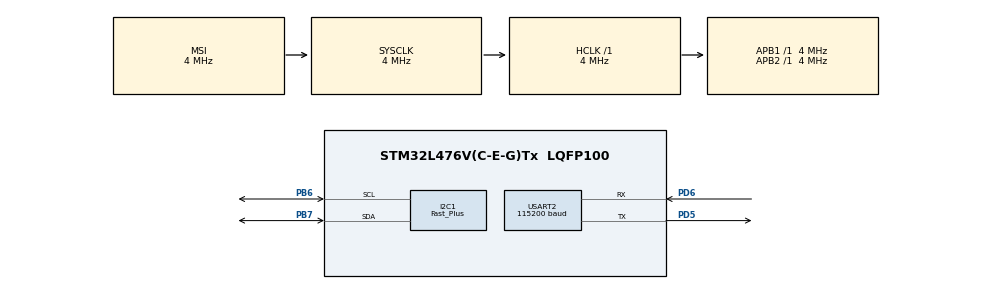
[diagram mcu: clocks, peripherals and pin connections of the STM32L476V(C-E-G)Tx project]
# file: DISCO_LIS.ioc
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I2C1.I2C_Speed_Mode=I2C_Fast_Plus
I2C1.Timing=0x00000000
Mcu.Family=STM32L4
Mcu.Name=STM32L476V(C-E-G)Tx
Mcu.Package=LQFP100
NVIC.PriorityGroup=NVIC_PRIORITYGROUP_4
PB6.Mode=I2C
PB6.Signal=I2C1_SCL
PB7.Mode=I2C
PB7.Signal=I2C1_SDA
PD5.Mode=Asynchronous
PD5.Signal=USART2_TX
PD6.Mode=Asynchronous
PD6.Signal=USART2_RX
ProjectManager.HeapSize=0x200
ProjectManager.StackSize=0x400
ProjectManager.TargetToolchain=STM32CubeIDE
RCC.ADCFreq_Value=16000000
RCC.AHBFreq_Value=4000000
RCC.APB1Freq_Value=4000000
RCC.APB1TimFreq_Value=4000000
RCC.APB2Freq_Value=4000000
RCC.APB2TimFreq_Value=4000000
RCC.CortexFreq_Value=4000000
RCC.HCLKFreq_Value=4000000
RCC.HSE_VALUE=8000000
RCC.HSI_VALUE=16000000
RCC.LSE_VALUE=32768
RCC.MSI_VALUE=4000000
RCC.PREFETCH_ENABLE=1
RCC.SYSCLKFreq_VALUE=4000000
RCC.USBFreq_Value=16000000
RCC.VCOOutputFreq_Value=32000000
TIM16.Prescaler=4000-1
USART2.BaudRate=115200
USART2.VirtualMode-Asynchronous=VM_ASYNC
VP_TIM16_VS_ClockSourceINT.Mode=Enable_Timer
board=STM32L476G-DISCO

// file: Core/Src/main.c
/* USER CODE BEGIN Header */
/**
  ******************************************************************************
  * @file           : main.c
  * @brief          : Main program body
  ******************************************************************************
  * @attention
  *
  * <h2><center>&copy; Copyright (c) 2020 STMicroelectronics.
  * All rights reserved.</center></h2>
  *
  * This software component is licensed by ST under BSD 3-Clause license,
  * the "License"; You may not use this file except in compliance with the
  * License. You may obtain a copy of the License at:
  *                        opensource.org/licenses/BSD-3-Clause
  *
  ******************************************************************************
  */
/* USER CODE END Header */
#include "main.h"

/* USER CODE BEGIN Includes */
#include "lis2dh12_reg.h"
#include <string.h>
#include <stdio.h>
#include <stdlib.h>
/* USER CODE END Includes */

/* USER CODE BEGIN PTD */
#define MAIN_MENU   "press\t 1 to start a measurement\r\n\t 2 to start a measurement but without accelz output\r\n\t 3 to test timer"
#define PROMPT "\r\n> "
/* USER CODE END PTD */

/* USER CODE BEGIN PD */
#define NUCLEO_F411RE
#define SENSOR_BUS hi2c1

/* USER CODE END PD */

/* USER CODE BEGIN PM */
#define    BOOT_TIME            5 //ms
/* USER CODE END PM */

I2C_HandleTypeDef hi2c1;

TIM_HandleTypeDef htim16;

UART_HandleTypeDef huart2;

/* USER CODE BEGIN PV */
static int16_t data_raw_acceleration[3];
static float acceleration_mg[3];
static uint8_t whoamI;
static uint8_t tx_buffer[1000];
static int16_t accel[DATA_POINTS];
/* USER CODE END PV */

void SystemClock_Config(void);
static void MX_GPIO_Init(void);
static void MX_I2C1_Init(void);
static void MX_TIM16_Init(void);
static void MX_USART2_UART_Init(void);
/* USER CODE BEGIN PFP */
int lis2dh12_read_data_polling(void);
static int32_t platform_write(void *handle, uint8_t reg, uint8_t *bufp, uint16_t len);
static int32_t platform_read(void *handle, uint8_t reg, uint8_t *bufp, uint16_t len);
static void tx_com(uint8_t *tx_buffer, uint16_t len);
static void platform_delay(uint32_t ms);
static void platform_init(void);
uint8_t readUserInput(void);
/* USER CODE END PFP */

int main(void)
{
  /* USER CODE BEGIN 1 */

	uint8_t opt = 0;

  /* USER CODE END 1 */

  /* MCU Configuration--------------------------------------------------------*/

  /* Reset of all peripherals, Initializes the Flash interface and the Systick. */
  HAL_Init();

  /* Configure the system clock */
  SystemClock_Config();

  /* Initialize all configured peripherals */
  MX_GPIO_Init();
  MX_I2C1_Init();
  MX_TIM16_Init();
  MX_USART2_UART_Init();
  /* USER CODE BEGIN 2 */
  stmdev_ctx_t dev_ctx;

  dev_ctx.write_reg = platform_write;
  dev_ctx.read_reg = platform_read;
  dev_ctx.handle = &SENSOR_BUS;

  /* Wait boot time and initialize platform specific hardware */
  platform_init();

  /* Wait sensor boot time */
  platform_delay(BOOT_TIME);

  /* Check device ID */
  lis2dh12_device_id_get(&dev_ctx, &whoamI);
  if (whoamI != LIS2DH12_ID){
    while(1) {
      /* manage here device not found */
    }
  }

  /* Enable Block Data Update. */
  lis2dh12_block_data_update_set(&dev_ctx, PROPERTY_ENABLE);

  lis2dh12_data_rate_set(&dev_ctx, LIS2DH12_ODR_200Hz);
  lis2dh12_full_scale_set(&dev_ctx, LIS2DH12_2g);
  lis2dh12_temperature_meas_set(&dev_ctx, LIS2DH12_TEMP_DISABLE);
  lis2dh12_operating_mode_set(&dev_ctx, LIS2DH12_HR_12bit);
  // Start timer
  HAL_TIM_Base_Start(&htim16);
#if defined TESTING
  uart_buf_len = sprintf(uart_buf, "Timer test\n\r");
  HAL_UART_Transmit(&huart2, (uint8_t*)uart_buf, uart_buf_len, HAL_MAX_DELAY);
  HAL_UART_Transmit(&huart2, (uint8_t*)MAIN_MENU, strlen(MAIN_MENU), HAL_MAX_DELAY);
#endif
  /* USER CODE END 2 */

  /* Infinite loop */
  while (1)
  {

    /* USER CODE BEGIN 3 */

	lis2dh12_read_data_polling();
	break;
  }
  /* USER CODE END 3 */
}

void SystemClock_Config(void)
{
  RCC_OscInitTypeDef RCC_OscInitStruct = {0};
  RCC_ClkInitTypeDef RCC_ClkInitStruct = {0};
  RCC_PeriphCLKInitTypeDef PeriphClkInit = {0};

  /** Initializes the RCC Oscillators according to the specified parameters
  * in the RCC_OscInitTypeDef structure.
  */
  RCC_OscInitStruct.OscillatorType = RCC_OSCILLATORTYPE_MSI;
  RCC_OscInitStruct.MSIState = RCC_MSI_ON;
  RCC_OscInitStruct.MSICalibrationValue = 0;
  RCC_OscInitStruct.MSIClockRange = RCC_MSIRANGE_6;
  RCC_OscInitStruct.PLL.PLLState = RCC_PLL_NONE;
  if (HAL_RCC_OscConfig(&RCC_OscInitStruct) != HAL_OK)
  {
    Error_Handler();
  }
  /** Initializes the CPU, AHB and APB buses clocks
  */
  RCC_ClkInitStruct.ClockType = RCC_CLOCKTYPE_HCLK|RCC_CLOCKTYPE_SYSCLK
                              |RCC_CLOCKTYPE_PCLK1|RCC_CLOCKTYPE_PCLK2;
  RCC_ClkInitStruct.SYSCLKSource = RCC_SYSCLKSOURCE_MSI;
  RCC_ClkInitStruct.AHBCLKDivider = RCC_SYSCLK_DIV1;
  RCC_ClkInitStruct.APB1CLKDivider = RCC_HCLK_DIV1;
  RCC_ClkInitStruct.APB2CLKDivider = RCC_HCLK_DIV1;

  if (HAL_RCC_ClockConfig(&RCC_ClkInitStruct, FLASH_LATENCY_0) != HAL_OK)
  {
    Error_Handler();
  }
  PeriphClkInit.PeriphClockSelection = RCC_PERIPHCLK_USART2|RCC_PERIPHCLK_I2C1;
  PeriphClkInit.Usart2ClockSelection = RCC_USART2CLKSOURCE_PCLK1;
  PeriphClkInit.I2c1ClockSelection = RCC_I2C1CLKSOURCE_PCLK1;
  if (HAL_RCCEx_PeriphCLKConfig(&PeriphClkInit) != HAL_OK)
  {
    Error_Handler();
  }
  /** Configure the main internal regulator output voltage
  */
  if (HAL_PWREx_ControlVoltageScaling(PWR_REGULATOR_VOLTAGE_SCALE1) != HAL_OK)
  {
    Error_Handler();
  }
}

static void MX_I2C1_Init(void)
{

  hi2c1.Instance = I2C1;
  hi2c1.Init.Timing = 0x00000000;
  hi2c1.Init.OwnAddress1 = 0;
  hi2c1.Init.AddressingMode = I2C_ADDRESSINGMODE_7BIT;
  hi2c1.Init.DualAddressMode = I2C_DUALADDRESS_DISABLE;
  hi2c1.Init.OwnAddress2 = 0;
  hi2c1.Init.OwnAddress2Masks = I2C_OA2_NOMASK;
  hi2c1.Init.GeneralCallMode = I2C_GENERALCALL_DISABLE;
  hi2c1.Init.NoStretchMode = I2C_NOSTRETCH_DISABLE;
  if (HAL_I2C_Init(&hi2c1) != HAL_OK)
  {
    Error_Handler();
  }
  /** Configure Analogue filter
  */
  if (HAL_I2CEx_ConfigAnalogFilter(&hi2c1, I2C_ANALOGFILTER_ENABLE) != HAL_OK)
  {
    Error_Handler();
  }
  /** Configure Digital filter
  */
  if (HAL_I2CEx_ConfigDigitalFilter(&hi2c1, 0) != HAL_OK)
  {
    Error_Handler();
  }
  /** I2C Fast mode Plus enable
  */
  HAL_I2CEx_EnableFastModePlus(I2C_FASTMODEPLUS_I2C1);

}

static void MX_TIM16_Init(void)
{

  htim16.Instance = TIM16;
  htim16.Init.Prescaler = 4000-1;
  htim16.Init.CounterMode = TIM_COUNTERMODE_UP;
  htim16.Init.Period = 65535;
  htim16.Init.ClockDivision = TIM_CLOCKDIVISION_DIV1;
  htim16.Init.RepetitionCounter = 0;
  htim16.Init.AutoReloadPreload = TIM_AUTORELOAD_PRELOAD_DISABLE;
  if (HAL_TIM_Base_Init(&htim16) != HAL_OK)
  {
    Error_Handler();
  }

}

static void MX_USART2_UART_Init(void)
{

  huart2.Instance = USART2;
  huart2.Init.BaudRate = 115200;
  huart2.Init.WordLength = UART_WORDLENGTH_8B;
  huart2.Init.StopBits = UART_STOPBITS_1;
  huart2.Init.Parity = UART_PARITY_NONE;
  huart2.Init.Mode = UART_MODE_TX_RX;
  huart2.Init.HwFlowCtl = UART_HWCONTROL_NONE;
  huart2.Init.OverSampling = UART_OVERSAMPLING_16;
  huart2.Init.OneBitSampling = UART_ONE_BIT_SAMPLE_DISABLE;
  huart2.AdvancedInit.AdvFeatureInit = UART_ADVFEATURE_NO_INIT;
  if (HAL_UART_Init(&huart2) != HAL_OK)
  {
    Error_Handler();
  }

}

static void MX_GPIO_Init(void)
{

  /* GPIO Ports Clock Enable */
  __HAL_RCC_GPIOD_CLK_ENABLE();
  __HAL_RCC_GPIOB_CLK_ENABLE();

}

/* USER CODE BEGIN 4 */
uint8_t readUserInput(void) {
	char readBuf[1];

	HAL_UART_Transmit(&huart2, (uint8_t*)PROMPT, strlen(PROMPT), HAL_MAX_DELAY);
	HAL_UART_Receive(&huart2, (uint8_t*)readBuf, 1, HAL_MAX_DELAY);
	return atoi(readBuf);
}

int lis2dh12_read_data_polling(void)
{
	uint16_t i = 0, timer_val;
	char uart_buf[50];
	int uart_buf_len;
	stmdev_ctx_t dev_ctx;

	dev_ctx.write_reg = platform_write;
	dev_ctx.read_reg = platform_read;
	dev_ctx.handle = &SENSOR_BUS;
  /* Read samples in polling mode (no int) */

	timer_val = __HAL_TIM_GET_COUNTER(&htim16);
	while(i < DATA_POINTS){
		lis2dh12_reg_t reg;

		/* Read output only if new value available */
		lis2dh12_xl_data_ready_get(&dev_ctx, &reg.byte);
		if (reg.byte) {
			  /* Read accelerometer data */
			  memset(data_raw_acceleration, 0x00, 3*sizeof(int16_t));
			  lis2dh12_acceleration_raw_get(&dev_ctx, data_raw_acceleration);
			  //acceleration_mg[0] =
					  //lis2dh12_from_fs16_lp_to_mg(data_raw_acceleration[0]);
			  //acceleration_mg[1] =
					  //lis2dh12_from_fs16_lp_to_mg(data_raw_acceleration[1]);
			  accel[i] = lis2dh12_from_fs2_lp_to_mg(data_raw_acceleration[2]);
			  ++i;
			  //sprintf((char*)tx_buffer, "Acceleration [mg]: %4.2f\t%4.2f\t%4.2f\r\n",
					  //acceleration_mg[0], acceleration_mg[1], acceleration_mg[2]);
			  //tx_com(tx_buffer, strlen((char const*)tx_buffer));
			  //HAL_UART_Transmit(&huart2, tx_buffer, strlen(tx_buffer), HAL_MAX_DELAY);

		}
    }
	//get time and calculate duration & Hertz
	timer_val = __HAL_TIM_GET_COUNTER(&htim16) - timer_val - 1;//somehow its always 1ms too slow
	uint16_t hertz = DATA_POINTS * 1000 / timer_val;
	//print acceleration values of the z axis
	for(uint16_t i = 0; i < DATA_POINTS; ++i){
		  //sprintf((char*)tx_buffer, "%d\t az [mg]: %d\r\n",i , accel[i]);
		  sprintf((char*)tx_buffer, "%d \r\n", accel[i]);
		  tx_com(tx_buffer, strlen((char const*)tx_buffer));
	}
	// print last message
	uart_buf_len = sprintf(uart_buf, "%u \r\n%u \r\nthis is the end \r\n", timer_val, hertz);
	//uart_buf_len = sprintf(uart_buf, "duration: %u ms Hertz: %u\r\n", timer_val, hertz);
	//uart_buf_len = sprintf(uart_buf, "this is the end\r\n", timer_val, hertz);
	HAL_UART_Transmit(&huart2, (uint8_t*)uart_buf, uart_buf_len, HAL_MAX_DELAY); // print timer_val
}

static int32_t platform_write(void *handle, uint8_t reg, uint8_t *bufp,
                              uint16_t len)
{
#if defined(NUCLEO_F411RE)
  /* Write multiple command */
  reg |= 0x80;
//  HAL_I2C_Mem_Write(handle, LIS2DH12_I2C_ADD_L, reg,
//                    I2C_MEMADD_SIZE_8BIT, bufp, len, 1000);
	HAL_I2C_Mem_Write(handle, LIS2DH12_I2C_ADD_H, reg,
                      I2C_MEMADD_SIZE_8BIT, bufp, len, 1000);
#elif defined(STEVAL_MKI109V3)
  /* Write multiple command */
  reg |= 0x40;
  HAL_GPIO_WritePin(CS_up_GPIO_Port, CS_up_Pin, GPIO_PIN_RESET);
  HAL_SPI_Transmit(handle, &reg, 1, 1000);
  HAL_SPI_Transmit(handle, bufp, len, 1000);
  HAL_GPIO_WritePin(CS_up_GPIO_Port, CS_up_Pin, GPIO_PIN_SET);
#elif defined(SPC584B_DIS)
  /* Write multiple command */
  reg |= 0x80;
  i2c_lld_write(handle,  LIS2DH12_I2C_ADD_L & 0xFE, reg, bufp, len);
#endif
  return 0;
}

static int32_t platform_read(void *handle, uint8_t reg, uint8_t *bufp,
                             uint16_t len)
{
#if defined(NUCLEO_F411RE)
  /* Read multiple command */
  reg |= 0x80;
//  HAL_I2C_Mem_Read(handle, LIS2DH12_I2C_ADD_L, reg,
//                   I2C_MEMADD_SIZE_8BIT, bufp, len, 1000);
  HAL_I2C_Mem_Read(handle, LIS2DH12_I2C_ADD_H, reg,
                   I2C_MEMADD_SIZE_8BIT, bufp, len, 1000);
#elif defined(STEVAL_MKI109V3)
  /* Read multiple command */
  reg |= 0x80;
  HAL_GPIO_WritePin(CS_up_GPIO_Port, CS_up_Pin, GPIO_PIN_RESET);
  HAL_SPI_Transmit(handle, &reg, 1, 1000);
  HAL_SPI_Receive(handle, bufp, len, 1000);
  HAL_GPIO_WritePin(CS_up_GPIO_Port, CS_up_Pin, GPIO_PIN_SET);
#elif defined(SPC584B_DIS)
  /* Read multiple command */
  reg |= 0x80;
  i2c_lld_read(handle, LIS2DH12_I2C_ADD_L & 0xFE, reg, bufp, len);
#endif
  return 0;
}

static void tx_com(uint8_t *tx_buffer, uint16_t len)
{
#if defined(NUCLEO_F411RE)
  HAL_UART_Transmit(&huart2, tx_buffer, len, 1000);
#elif defined(STEVAL_MKI109V3)
  CDC_Transmit_FS(tx_buffer, len);
#elif defined(SPC584B_DIS)
  sd_lld_write(&SD2, tx_buffer, len);
#endif
}

static void platform_delay(uint32_t ms)
{
#if defined(NUCLEO_F411RE) | defined(STEVAL_MKI109V3)
  HAL_Delay(ms);
#elif defined(SPC584B_DIS)
  osalThreadDelayMilliseconds(ms);
#endif
}

static void platform_init(void)
{
#if defined(STEVAL_MKI109V3)
  TIM3->CCR1 = PWM_3V3;
  TIM3->CCR2 = PWM_3V3;
  HAL_TIM_PWM_Start(&htim3, TIM_CHANNEL_1);
  HAL_TIM_PWM_Start(&htim3, TIM_CHANNEL_2);
  HAL_Delay(1000);
#endif
}
/* USER CODE END 4 */

void Error_Handler(void)
{
}

/************************ (C) COPYRIGHT STMicroelectronics *****END OF FILE****/
